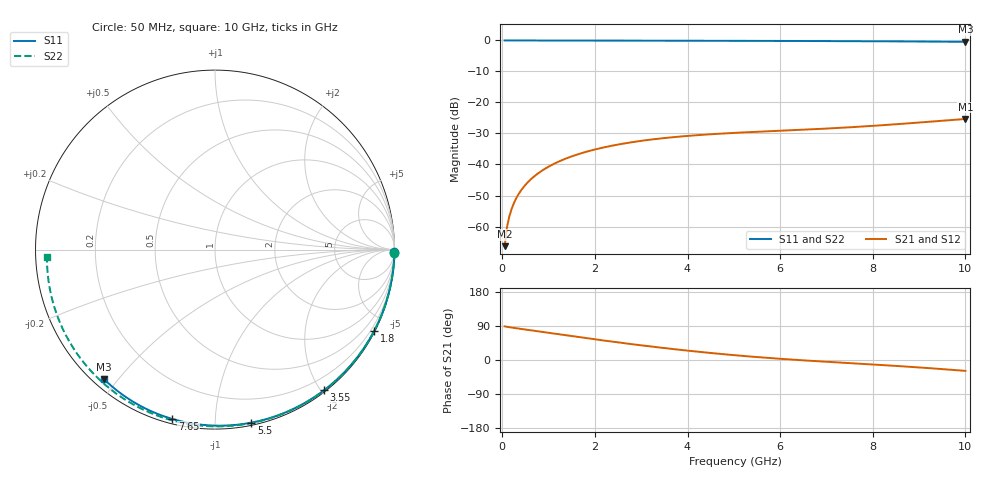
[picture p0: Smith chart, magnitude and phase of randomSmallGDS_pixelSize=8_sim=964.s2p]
! freq	dB(S11)	phase(S11)	dB(S12)	phase(S12)
!  dB(S21)	phase(S21)	dB(S22)	phase(S22)
!S-par simulation data
#  GHz  S  DB  R 50
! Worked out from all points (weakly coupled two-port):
!   200 points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, 50 MHz to 10 GHz, reference 50 ohm
!   highest |S21| = -25.32 dB at 10 GHz (marker M1); lowest = -66.3 dB at 50 MHz (marker M2)
!   lowest |S11| = -0.4 dB at 10 GHz (marker M3), VSWR 39.44, Z = 1.54 - j23 ohm
!   |S11| at or under -10 dB: nowhere
!   |S22| runs from -0.6 to 0.0 dB; largest |S21 - S12| = 0
!   S11 on the Smith chart (normalised r, x): 50 MHz: open; 1.8 GHz: 0.04, -4.15; 3.55 GHz: 0.02, -2.04; 5.5 GHz: 0.02, -1.23; 7.65 GHz: 0.02, -0.78; 10 GHz: 0.03, -0.46
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0.05  -0.00 -0.8  -66.34 88.8  -66.34 88.8  -0.00 -1.1
0.1  -0.00 -1.5  -60.34 87.7  -60.34 87.7  -0.00 -2.1
0.15  -0.00 -2.3  -56.85 86.6  -56.85 86.6  -0.00 -3.2
0.2  -0.00 -3.1  -54.39 85.6  -54.39 85.6  -0.00 -4.2
0.35  -0.00 -5.4  -49.60 83.0  -49.60 83.0  -0.01 -7.4
0.5  -0.01 -7.6  -46.56 80.4  -46.56 80.4  -0.01 -10.6
0.7  -0.01 -10.7  -43.69 76.9  -43.69 76.9  -0.02 -14.8
1  -0.02 -15.2  -40.69 71.7  -40.69 71.7  -0.03 -21.0
1.35  -0.03 -20.4  -38.22 65.6  -38.22 65.6  -0.04 -28.2
1.75  -0.03 -26.4  -36.17 58.8  -36.17 58.8  -0.05 -36.4
1.8  -0.04 -27.1  -35.95 57.9  -35.95 57.9  -0.05 -37.4
2.6  -0.05 -38.7  -33.30 44.9  -33.30 44.9  -0.07 -53.2
3.4  -0.07 -50.1  -31.64 32.9  -31.64 32.9  -0.09 -68.5
3.55  -0.07 -52.2  -31.40 30.8  -31.40 30.8  -0.10 -71.2
4.3  -0.09 -62.4  -30.45 20.9  -30.45 20.9  -0.12 -84.8
5.05  -0.11 -72.3  -29.77 12.3  -29.77 12.3  -0.15 -97.8
5.5  -0.13 -78.1  -29.45 7.8  -29.45 7.8  -0.17 -105.4
6.7  -0.18 -93.0  -28.64 -2.4  -28.64 -2.4  -0.24 -124.9
7.65  -0.24 -104.2  -27.87 -9.3  -27.87 -9.3  -0.31 -140.0
8.35  -0.29 -112.2  -27.18 -14.4  -27.18 -14.4  -0.38 -151.0
9.2  -0.36 -121.7  -26.24 -21.3  -26.24 -21.3  -0.47 -164.5
10  -0.44 -130.5  -25.32 -28.7  -25.32 -28.7  -0.57 -177.6
